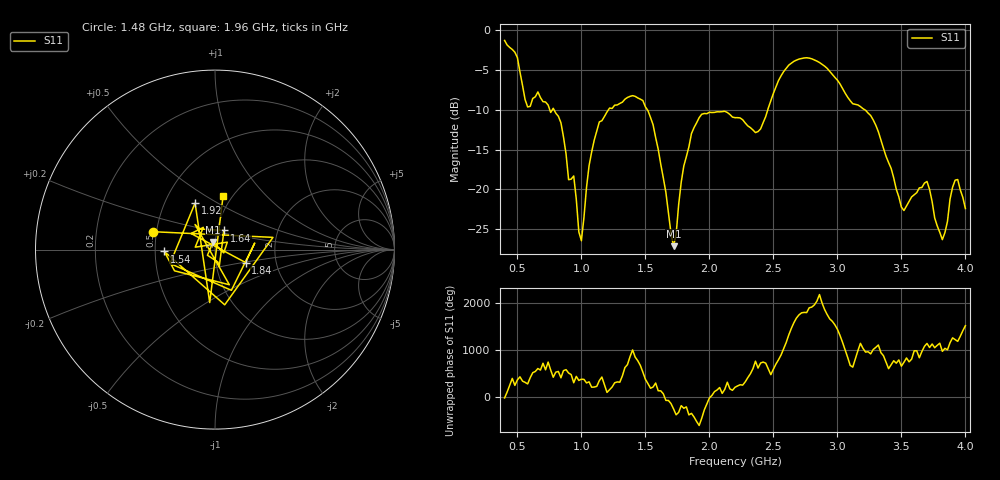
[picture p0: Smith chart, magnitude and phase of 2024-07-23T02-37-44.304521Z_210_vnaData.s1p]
!Created with skrf (http://scikit-rf.org).
# Hz S RI R 50.0
!freq ReS11 ImS11
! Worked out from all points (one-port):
!   181 points, 400 MHz to 4 GHz, reference 50 ohm
!   lowest |S11| = -27.2 dB at 1.72 GHz (marker M1), VSWR 1.09, Z = 48.8 + j4.16 ohm
!   |S11| at or under -10 dB: 786.2 MHz to 1.211 GHz (424.8 MHz wide, 42.5 % of centre); 1.516 GHz to 2.456 GHz (940.4 MHz wide, 47.4 % of centre); 3.214 GHz to end of sweep (the widest 3 of 4)
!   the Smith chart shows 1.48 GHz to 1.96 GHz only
!   S11 on the Smith chart (normalised r, x): 1.48 GHz: 0.48, +0.11; 1.54 GHz: 0.56, -0.01; 1.64 GHz: 1.08, +0.23; 1.84 GHz: 1.39, -0.21; 1.92 GHz: 0.71, +0.40; 1.96 GHz: 0.91, +0.59
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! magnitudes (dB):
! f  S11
! 400 MHz  -1.3
! 580 MHz  -9.6
! 660 MHz  -7.8
! 860 MHz  -13.4
! 900 MHz  -18.8
! 940 MHz  -18.3
! 1 GHz  -26.5
! 1.06 GHz  -17.0
! 1.14 GHz  -11.5
! 1.3 GHz  -9.2
! 1.48 GHz  -8.8
! 1.54 GHz  -11.0
! 1.64 GHz  -18.6
! 1.72 GHz  -27.2
! 1.76 GHz  -21.9
! 1.84 GHz  -14.6
! 1.92 GHz  -11.0
! 1.96 GHz  -10.5
! 2.2 GHz  -11.0
! 2.38 GHz  -12.7
! 2.66 GHz  -3.9
! 3.1 GHz  -8.8
! 3.26 GHz  -10.7
! 3.56 GHz  -21.5
! 3.7 GHz  -19.0
! 3.82 GHz  -26.3
! 3.92 GHz  -18.9
! 4 GHz  -22.4
